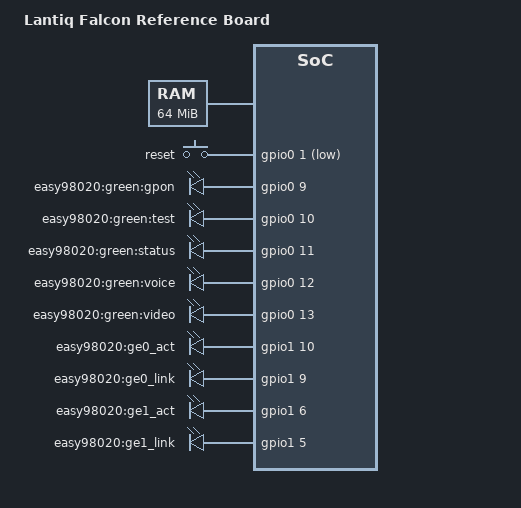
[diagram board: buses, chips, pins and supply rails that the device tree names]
/dts-v1/;

#include <dt-bindings/gpio/gpio.h>

#include "falcon.dtsi"
#include "falcon_sflash-16m.dtsi"

/ {
	model = "Lantiq Falcon Reference Board";
	compatible = "lantiq,easy98020", "lantiq,falcon";

	aliases {
		spi0 = &ebu_cs0;
	};

	memory@0 {
		device_type = "memory";
		reg = <0x0 0x4000000>;  // 64M at 0x0
	};

	keys {
		compatible = "gpio-keys";
		reset {
			label = "reset";
			gpios = <&gpio0 1 GPIO_ACTIVE_LOW>;
			linux,code = <0x198>;
		};
	};

	pinctrl {
		led_pins: phy-led-pins {
			lantiq,pins = "io42", "io41", "io38", "io37";
			lantiq,function = "gpio";
		};
	};

	leds {
		compatible = "gpio-leds";
		pinctrl-names = "default";
		pinctrl-0 = <&bootled_pins>, <&led_pins>;

		GPON {
			label = "easy98020:green:gpon";
			gpios = <&gpio0 9 GPIO_ACTIVE_HIGH>;
			default-state = "keep";
		};
		TEST {
			label = "easy98020:green:test";
			gpios = <&gpio0 10 GPIO_ACTIVE_HIGH>;
			default-state = "keep";
		};
		ETH {
			label = "easy98020:green:status";
			gpios = <&gpio0 11 GPIO_ACTIVE_HIGH>;
			default-state = "keep";
		};
		VOICE {
			label = "easy98020:green:voice";
			gpios = <&gpio0 12 GPIO_ACTIVE_HIGH>;
			default-state = "keep";
		};
		VIDEO {
			label = "easy98020:green:video";
			gpios = <&gpio0 13 GPIO_ACTIVE_HIGH>;
			default-state = "keep";
		};

		GE0_ACT {
			label = "easy98020:ge0_act";
			gpios = <&gpio1 10 GPIO_ACTIVE_HIGH>;
		};
		GE0_LINK {
			label = "easy98020:ge0_link";
			gpios = <&gpio1 9 GPIO_ACTIVE_HIGH>;
		};
		GE1_ACT {
			label = "easy98020:ge1_act";
			gpios = <&gpio1 6 GPIO_ACTIVE_HIGH>;
		};
		GE1_LINK {
			label = "easy98020:ge1_link";
			gpios = <&gpio1 5 GPIO_ACTIVE_HIGH>;
		};
	};
};
